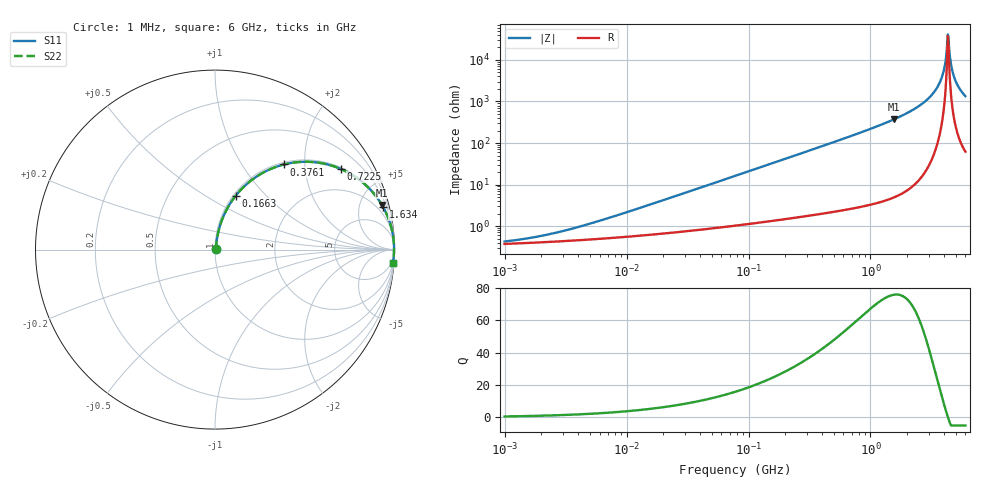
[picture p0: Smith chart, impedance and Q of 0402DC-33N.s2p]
# MHz  S  MA  R  50
!Freq  MagS11  AngS11  MagS21  AngS21  MagS12  AngS12  MagS22  AngS22
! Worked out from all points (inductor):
!   801 points, 1 MHz to 6 GHz, reference 50 ohm
!   read as one part in series: L = 33 nH near 7.485 MHz
!   highest Q = 75.8 at 1.564 GHz (marker M1), where L = 38 nH
!   self-resonance near 4.303 GHz
!   S11 on the Smith chart (normalised r, x): 1 MHz: 1.01, +0.00; 166.3 MHz: 1.03, +0.69; 376.1 MHz: 1.04, +1.57; 722.5 MHz: 1.05, +3.08; 1.634 GHz: 1.10, +7.91; 6 GHz: 2, -27
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1  0.004234 29.1  0.9963 -0.1  0.9963 -0.1  0.004234 29.1
4.297353  0.009982 62.2  0.9954 -0.5  0.9954 -0.5  0.009982 62.2
18.2674  0.03815 78.2  0.9929 -2.2  0.9929 -2.2  0.03815 78.2
77.65193  0.1578 77.3  0.9776 -9.1  0.9776 -9.1  0.1578 77.3
166.314  0.3228 68.9  0.9339 -18.8  0.9339 -18.8  0.3228 68.9
333.6978  0.5645 54.1  0.8108 -34.4  0.8108 -34.4  0.5645 54.1
376.1252  0.6108 51.0  0.777 -37.6  0.777 -37.6  0.6108 51.0
722.529  0.8324 32.7  0.54 -56.3  0.54 -56.3  0.8324 32.7
1418.499  0.9534 16.8  0.2892 -72.4  0.2892 -72.4  0.9534 16.8
1564.434  0.9628 14.9  0.2579 -74.3  0.2579 -74.3  0.9628 14.9
1634.026  0.9664 14.1  0.2445 -75.1  0.2445 -75.1  0.9664 14.1
2525.074  0.9901 7.2  0.1246 -81.9  0.1246 -81.9  0.9901 7.2
3314.428  0.9963 3.4  0.05975 -84.7  0.05975 -84.7  0.9963 3.4
3859.792  0.9976 1.4  0.02533 -83.9  0.02533 -83.9  0.9976 1.4
4031.489  0.9978 0.9  0.01567 -81.4  0.01567 -81.4  0.9978 0.9
4210.823  0.9978 0.3  0.006219 -69.2  0.006219 -69.2  0.9978 0.3
4303.46  0.9978 0.1  0.002428 -23.7  0.002428 -23.7  0.9978 0.1
4446.25  0.9977 -0.4  0.006692 69.6  0.006692 69.6  0.9977 -0.4
4694.84  0.9974 -1.1  0.01857 81.4  0.01857 81.4  0.9974 -1.1
4957.328  0.9969 -1.8  0.03068 83.4  0.03068 83.4  0.9969 -1.8
5408.175  0.9958 -2.9  0.05028 83.8  0.05028 83.8  0.9958 -2.9
6000  0.9938 -4.2  0.07409 83.1  0.07409 83.1  0.9938 -4.2
